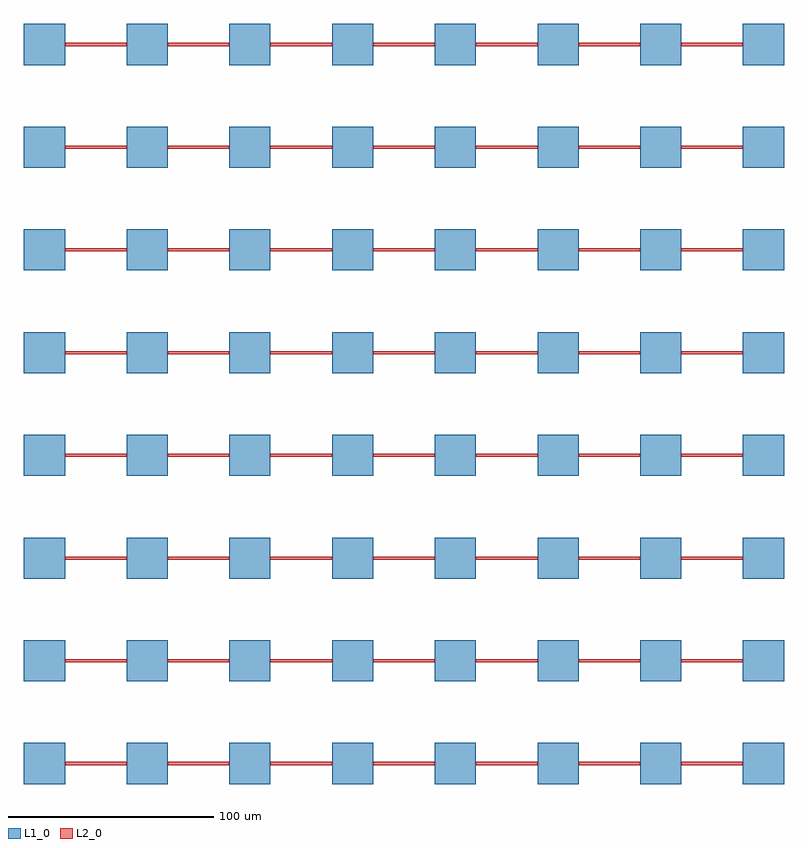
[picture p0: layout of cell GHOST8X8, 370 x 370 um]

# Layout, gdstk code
import gdstk
lib = gdstk.Library(unit=1e-6, precision=1e-09)
def R(c, l, rs):  # rectangles x0, y0, x1, y1
    for r in rs: c.add(gdstk.rectangle(r[:2], r[2:], *l))
def A(c, l, x, y, w, h, nx, ny, dx, dy):  # array of equal rectangles
    R(c, l, [(x+i*dx, y+j*dy, x+i*dx+w, y+j*dy+h) for i in range(nx) for j in range(ny)])
L1_0 = (1, 0)
L2_0 = (2, 0)

ghost8x8 = lib.new_cell('GHOST8X8')
A(ghost8x8, L1_0, 0, 0, 20, 20, 8, 8, 50, 50)
A(ghost8x8, L2_0, 20, 9.25, 30, 1.5, 7, 8, 50, 50)

lib.write_gds('GHOST8X8.gds')
